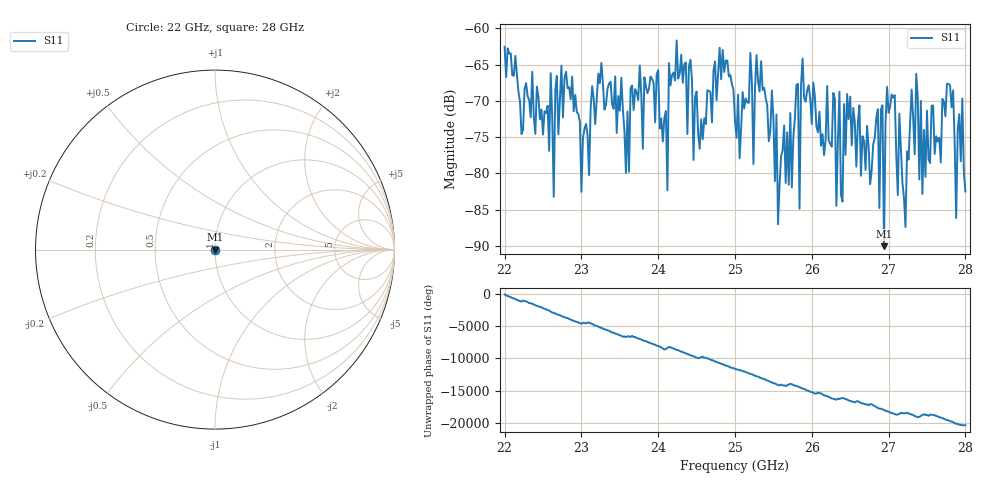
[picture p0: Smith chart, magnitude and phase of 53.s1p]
#  HZ  S  RI  R  50.00
! Rohde & Schwarz ZVA40 4Ports - Version 3.90 - 1145.1110k42 SN: 100403
! Date: 2023-10-04 09:19:12
! Measurement: S12
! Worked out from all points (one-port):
!   301 points, 22 GHz to 28 GHz, reference 50 ohm
!   lowest |S11| = -90.0 dB at 26.94 GHz (marker M1), VSWR 1.00, Z = 50 + j0.00273 ohm
!   |S11| at or under -10 dB: start of sweep to end of sweep
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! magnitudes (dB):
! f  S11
! 22 GHz  -62.6
! 22.76 GHz  -72.3
! 23.5 GHz  -71.3
! 23.62 GHz  -79.8
! 23.64 GHz  -68.3
! 24 GHz  -65.8
! 24.12 GHz  -82.3
! 24.14 GHz  -64.8
! 24.26 GHz  -66.9
! 25 GHz  -72.7
! 25.2 GHz  -63.4
! 25.24 GHz  -78.7
! 25.28 GHz  -63.7
! 25.52 GHz  -81.1
! 25.76 GHz  -74.9
! 25.82 GHz  -67.7
! 25.84 GHz  -84.8
! 25.88 GHz  -64.2
! 26.28 GHz  -68.9
! 26.32 GHz  -84.5
! 26.5 GHz  -69.4
! 26.94 GHz  -90.0
! 26.98 GHz  -68.1
! 27.26 GHz  -78.1
! 27.36 GHz  -66.3
! 27.4 GHz  -80.8
! 27.76 GHz  -67.6
! 28 GHz  -82.5
